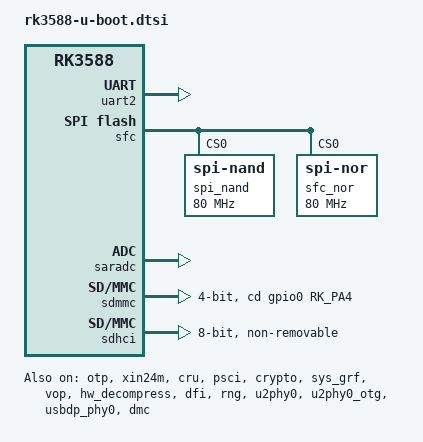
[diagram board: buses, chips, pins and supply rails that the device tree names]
/*
 * (C) Copyright 2021 Rockchip Electronics Co., Ltd
 *
 * SPDX-License-Identifier:     GPL-2.0+
 */

#include <dt-bindings/gpio/gpio.h>

/ {
	aliases {
		mmc0 = &sdhci;
		mmc1 = &sdmmc;
	};

	chosen {
		stdout-path = &uart2;
		u-boot,spl-boot-order = &sdmmc, &spi_nor, &sdhci, &spi_nand;
	};

	secure-otp@fe3a0000 {
		u-boot,dm-spl;
		compatible = "rockchip,rk3588-secure-otp";
		reg = <0x0 0xfe3a0000 0x0 0x4000>;
	};

	reserved-memory {
		#address-cells = <2>;
		#size-cells = <2>;
		ranges;

		cma {
			compatible = "shared-dma-pool";
			reusable;
			size = <0x0 (8 * 0x100000)>;
			linux,cma-default;
		};

		drm_logo: drm-logo@00000000 {
			compatible = "rockchip,drm-logo";
			reg = <0x0 0x0 0x0 0x0>;
		};

		drm_cubic_lut: drm-cubic-lut@00000000 {
			compatible = "rockchip,drm-cubic-lut";
			reg = <0x0 0x0 0x0 0x0>;
		};

		ramoops: ramoops@110000 {
			compatible = "ramoops";
			/* 0x110000 to 0x1f0000 is for ramoops */
			reg = <0x0 0x110000 0x0 0xe0000>;
			boot-log-size = <0x8000>;	/* do not change */
			boot-log-count = <0x1>;		/* do not change */
			console-size = <0x80000>;
			pmsg-size = <0x30000>;
			ftrace-size = <0x00000>;
			record-size = <0x14000>;
		};

		minidump_smem: minidump-smem@1f0000 {
			reg = <0x0 0x1f0000 0x0 0x100>;		/* do not change */
			no-map;
			status = "disabled";
		};

		minidump_mem: minidump-mem@c000000 {
			reg = <0x0 0x0c000000 0x0 0x2000000>;	/* changing according to your project */
			no-map;
			status = "disabled";
		};

	};
};

&otp {
	u-boot,dm-spl;
	status = "okay";
};

&firmware {
	u-boot,dm-spl;
};

&gpio0 {
	u-boot,dm-spl;
	status = "okay";
};
&gpio1 {
	u-boot,dm-pre-reloc;
	status = "okay";
};

&gpio2 {
	u-boot,dm-pre-reloc;
	status = "okay";
};
&gpio3 {
	u-boot,dm-pre-reloc;
	status = "okay";
};

&gpio4 {
	u-boot,dm-pre-reloc;
	status = "okay";
};

&spll {
	u-boot,dm-spl;
};

&xin32k {
	u-boot,dm-spl;
};

&scmi {
	u-boot,dm-spl;
};

&scmi_clk {
	u-boot,dm-spl;
};

&sram {
	u-boot,dm-spl;
};

&scmi_shmem {
	u-boot,dm-spl;
};

&xin24m {
	u-boot,dm-pre-reloc;
	status = "okay";
};

&aclk_usb {
	u-boot,dm-pre-reloc;
};

&hclk_vo1{
	u-boot,dm-pre-reloc;
};

&cru {
	u-boot,dm-spl;
	status = "okay";
};

&psci {
	u-boot,dm-pre-reloc;
	status = "okay";
};

&crypto {
	u-boot,dm-spl;
	status = "okay";
};

&vo1_grf {
	u-boot,dm-pre-reloc;
};

&pclk_vo1_grf {
	u-boot,dm-pre-reloc;
};

&sys_grf {
	u-boot,dm-spl;
	status = "okay";
};

&usb2phy3_grf {
	u-boot,dm-pre-reloc;
};

&usb2phy2_grf {
	u-boot,dm-pre-reloc;
};

&hdptxphy0_grf {
	u-boot,dm-pre-reloc;
};

&vop_opp_table{
	u-boot,dm-pre-reloc;
};

&vop_grf{
	u-boot,dm-pre-reloc;
};

&vo1_grf{
	u-boot,dm-pre-reloc;
};

&vop_out {
	u-boot,dm-pre-reloc;	
};

&vop_opp_table{
	u-boot,dm-pre-reloc;
};

&vop_mmu{
	u-boot,dm-pre-reloc;
	status = "okay";
};

&vop{
	u-boot,dm-pre-reloc;
	status = "okay";
};

&hdmi0_in {
	u-boot,dm-pre-reloc;
};

&hdptxphy_hdmi_clk0 {
	u-boot,dm-pre-reloc;
};

&hdptxphy_hdmi0 {
	u-boot,dm-pre-reloc;
};

&vp0_out_hdmi0 {
	u-boot,dm-pre-reloc;
};

&pmu {
	u-boot,dm-pre-reloc;
};

&hdmim0_tx0_cec {
	u-boot,dm-pre-reloc;
};

&hdmim0_tx0_hpd {
	u-boot,dm-pre-reloc;
};

&hdmim0_tx0_scl {
	u-boot,dm-pre-reloc;
};

&hdmim0_tx0_sda {
	u-boot,dm-pre-reloc;
};

// &pcie30_phy_grf {
// 	u-boot,dm-pre-reloc;
// 	status = "okay";
// };

&php_grf {
	u-boot,dm-spl;
};

&pipe_phy0_grf {
	u-boot,dm-pre-reloc;
};

// &pipe_phy1_grf {
// 	u-boot,dm-pre-reloc;
// 	status = "okay";
// };

&pipe_phy2_grf {
	u-boot,dm-pre-reloc;
};

&uart2 {
	u-boot,dm-spl;
	status = "okay";
};

&hw_decompress {
	u-boot,dm-spl;
	status = "okay";
};

&dfi {
	status = "okay";
};

&rng {
	u-boot,dm-pre-reloc;
	status = "okay";
};

&sfc {
	u-boot,dm-spl;
	status = "okay";

	#address-cells = <1>;
	#size-cells = <0>;
	spi_nand: flash@0 {
		u-boot,dm-spl;
		compatible = "spi-nand";
		reg = <0>;
		spi-tx-bus-width = <1>;
		spi-rx-bus-width = <4>;
		spi-max-frequency = <80000000>;
	};

	spi_nor: flash@1 {
		u-boot,dm-spl;
		compatible = "jedec,spi-nor";
		label = "sfc_nor";
		reg = <0>;
		spi-tx-bus-width = <1>;
		spi-rx-bus-width = <4>;
		spi-max-frequency = <80000000>;
	};
};

&saradc {
	u-boot,dm-pre-reloc;
	status = "okay";
};

&sdmmc {
	bus-width = <4>;
	u-boot,dm-spl;
	cd-gpios = <&gpio0 RK_PA4 GPIO_ACTIVE_HIGH>;
	status = "okay";
};

&sdhci {
	bus-width = <8>;
	u-boot,dm-spl;
	mmc-hs400-1_8v;
	mmc-hs400-enhanced-strobe;
	non-removable;
	status = "okay";
};

&usb2phy0_grf {
	u-boot,dm-pre-reloc;
};

&u2phy0 {
	u-boot,dm-pre-reloc;
	status = "okay";
};

&u2phy0_otg {
	u-boot,dm-pre-reloc;
	status = "okay";
};

&usb_grf {
	u-boot,dm-pre-reloc;
};

&vo0_grf {
	u-boot,dm-pre-reloc;	
};

&usbdpphy0_grf {
	u-boot,dm-pre-reloc;
};

&usbdp_phy0 {
	u-boot,dm-pre-reloc;
	status = "okay";
};

&dmc {
	u-boot,dm-pre-reloc;
	center-supply = <&vdd_ddr_s0>;
	mem-supply = <&vdd_log_s0>;
	status = "okay";
};

&dmc_opp_table {
	status = "disabled";
};

/* Support SPL-PINCTRL:
 * 1. ioc
 * 2. pinctrl(sdmmc)
 * 3. gpio if need
 */
&ioc {
	u-boot,dm-spl;
};

&pinctrl {
	u-boot,dm-spl;
	/delete-node/ sdmmc;
	sdmmc {
		u-boot,dm-spl;
		sdmmc_bus4: sdmmc-bus4 {
			u-boot,dm-spl;
			rockchip,pins =
				/* sdmmc_d0 */
				<4 RK_PD0 1 &pcfg_pull_up_drv_level_2>,
				/* sdmmc_d1 */
				<4 RK_PD1 1 &pcfg_pull_up_drv_level_2>,
				/* sdmmc_d2 */
				<4 RK_PD2 1 &pcfg_pull_up_drv_level_2>,
				/* sdmmc_d3 */
				<4 RK_PD3 1 &pcfg_pull_up_drv_level_2>;
		};

		sdmmc_clk: sdmmc-clk {
			u-boot,dm-spl;
			rockchip,pins =
				/* sdmmc_clk */
				<4 RK_PD5 1 &pcfg_pull_up_drv_level_2>;
		};

		sdmmc_cmd: sdmmc-cmd {
			u-boot,dm-spl;
			rockchip,pins =
				/* sdmmc_cmd */
				<4 RK_PD4 1 &pcfg_pull_up_drv_level_2>;
		};

		sdmmc_det: sdmmc-det {
			u-boot,dm-spl;
			rockchip,pins =
				/* sdmmc_det */
				<0 RK_PA4 1 &pcfg_pull_up>;
		};

		sdmmc_pwren: sdmmc-pwren {
			u-boot,dm-spl;
			rockchip,pins =
				/* sdmmc_pwren */
				<0 RK_PA5 2 &pcfg_pull_none>;
		};
	};
};

&pcfg_pull_up_drv_level_2 {
	u-boot,dm-spl;
};

&pcfg_pull_up {
	u-boot,dm-spl;
};

&pcfg_pull_none
{
	u-boot,dm-spl;
};
